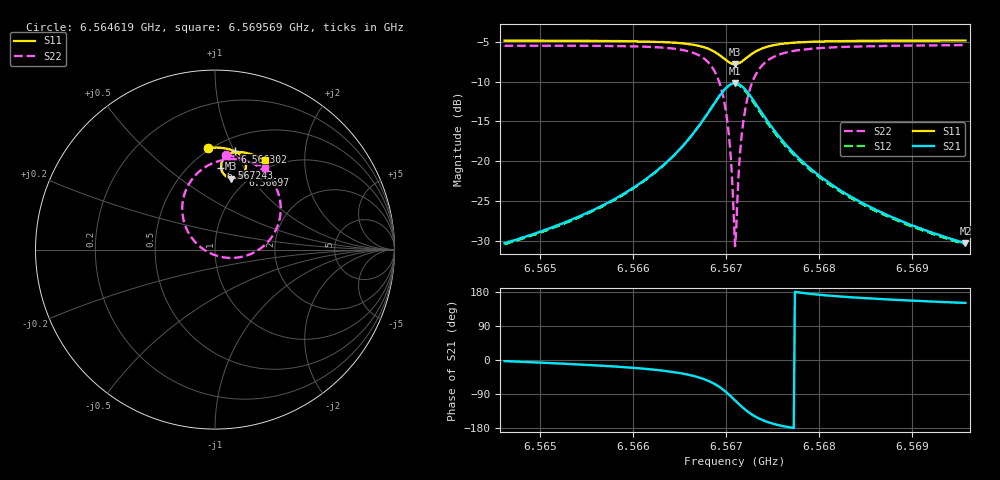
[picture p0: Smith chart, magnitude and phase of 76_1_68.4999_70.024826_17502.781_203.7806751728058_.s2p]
#  HZ  S  RI  R  50.00
! Rohde & Schwarz Vector Network Analyzer
! Rohde-Schwarz,ZNB20-2Port,1311601062101988,3.16
! Created: UTC 3/20/2024, 4:51:56 PM
! freq[Hz]  re:S11  im:S11  re:S21  im:S21  re:S12  im:S12  re:S22  im:S22
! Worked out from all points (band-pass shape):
!   401 points, 6.564619 GHz to 6.569569 GHz, reference 50 ohm
!   highest |S21| = -10.22 dB at 6.567094 GHz (marker M1); lowest = -30.2 dB at 6.569569 GHz (marker M2)
!   |S21| within 3 dB of the highest: 6.566846 GHz to 6.567342 GHz (496 kHz wide, 0.00755 % of centre)
!   lowest |S11| = -7.8 dB at 6.567094 GHz (marker M3), VSWR 2.36, Z = 42.2 + j40 ohm
!   |S11| at or under -10 dB: nowhere
!   |S22| runs from -30.6 to -5.4 dB; largest |S21 - S12| = 0.016
!   S11 on the Smith chart (normalised r, x): 6.564619 GHz: 0.48, +0.81; 6.566302 GHz: 0.63, +1.01; 6.56697 GHz: 0.90, +0.93; 6.567243 GHz: 0.70, +0.80; 6.569569 GHz: 0.88, +1.30
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6.5646192e9  -0.0415 0.5679  0.0308 -0.00158  0.0303 -0.0021  0.0614 0.5256
6.5654483e9  0.0278 0.5675  0.0451 -0.00974  0.0442 -0.0103  0.1445 0.5087
6.5662775e9  0.1091 0.5485  0.0801 -0.0405  0.0788 -0.0416  0.2654 0.4436
6.5663022e9  0.1121 0.5471  0.0818 -0.0428  0.0807 -0.0438  0.2705 0.4393
6.5665745e9  0.1459 0.5244  0.105 -0.0817  0.1035 -0.0834  0.3318 0.3625
6.5667725e9  0.1692 0.4871  0.1174 -0.1476  0.1144 -0.151  0.3661 0.2352
6.5668838e9  0.1709 0.4501  0.1016 -0.2126  0.0957 -0.2169  0.3403 0.1113
6.5669705e9  0.153 0.4157  0.0531 -0.2712  0.0427 -0.2744  0.2494 0.00304
6.5670323e9  0.1245 0.3977  -0.01 -0.2993  -0.0235 -0.2985  0.1319 -0.0438
6.5670818e9  0.0949 0.3946  -0.0716 -0.2996  -0.0856 -0.2941  0.0211 -0.0376
6.5670942e9  0.0875 0.396  -0.087 -0.2957  -0.1007 -0.289  -0.006 -0.0289
6.5671066e9  0.0801 0.398  -0.102 -0.2907  -0.1152 -0.2825  -0.032 -0.0174
6.567119e9  0.0731 0.401  -0.1164 -0.284  -0.1288 -0.2747  -0.0562 -0.00347
6.5671437e9  0.0604 0.4089  -0.1421 -0.2668  -0.1528 -0.2556  -0.0992 0.0306
6.5671685e9  0.05 0.419  -0.1634 -0.2459  -0.172 -0.2335  -0.1331 0.0705
6.5672056e9  0.0394 0.4366  -0.1858 -0.211  -0.1912 -0.1977  -0.1666 0.1352
6.5672427e9  0.0346 0.4545  -0.1975 -0.1756  -0.2 -0.1627  -0.181 0.1986
6.5673417e9  0.0409 0.4943  -0.1946 -0.0987  -0.1923 -0.089  -0.1617 0.3323
6.5674902e9  0.0684 0.5263  -0.1596 -0.0362  -0.156 -0.0309  -0.086 0.4365
6.5679233e9  0.1363 0.5438  -0.0879 0.00922  -0.0856 0.0105  0.0708 0.5025
6.5687525e9  0.2177 0.526  -0.0427 0.0159  -0.0418 0.0164  0.2033 0.4875
6.5695692e9  0.2799 0.4977  -0.0269 0.015  -0.0262 0.0152  0.2803 0.4548
